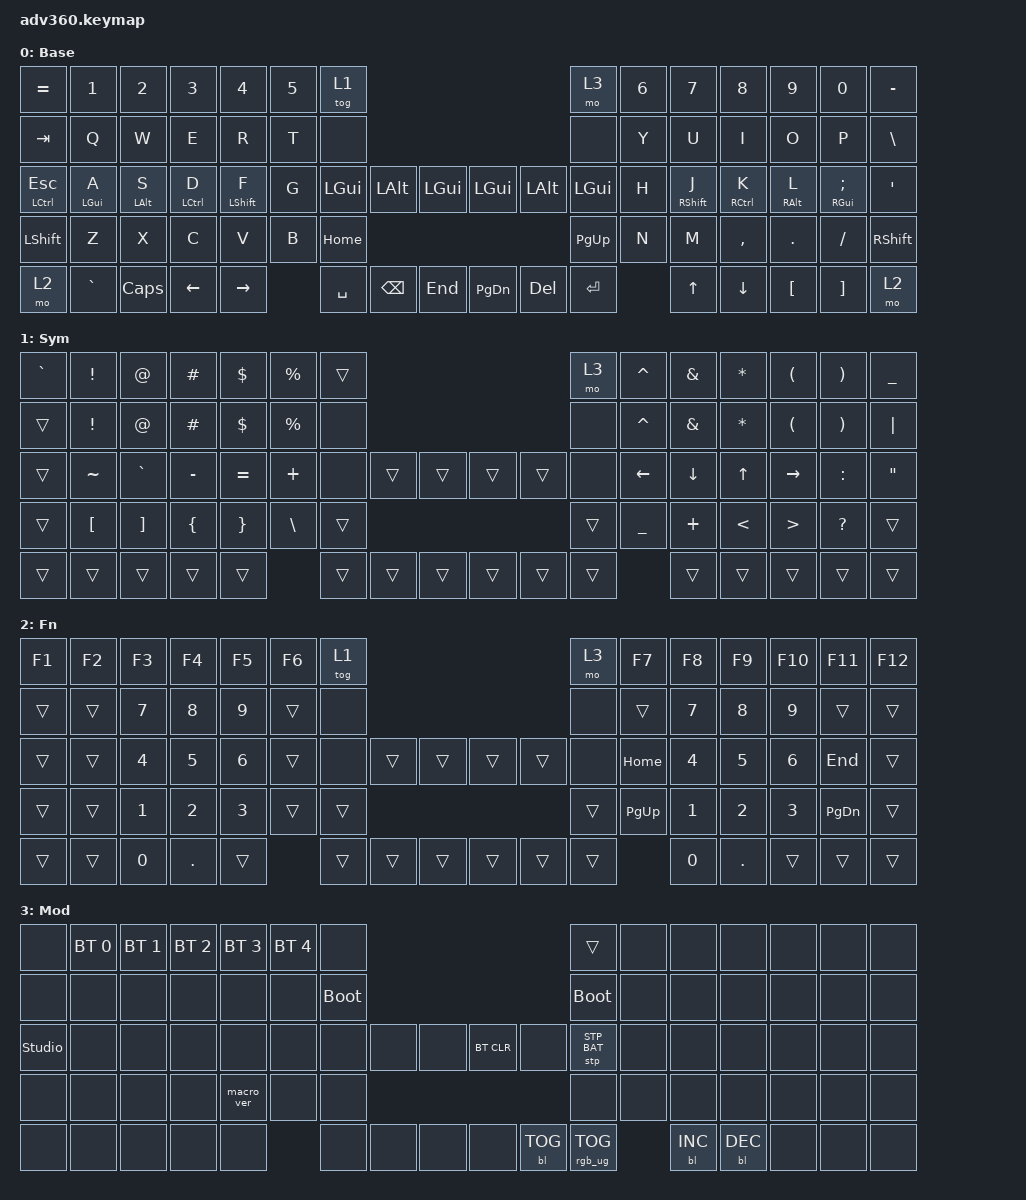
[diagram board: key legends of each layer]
#include <dt-bindings/zmk/stp.h>
#include <behaviors.dtsi>
#include <dt-bindings/zmk/backlight.h>
#include <dt-bindings/zmk/bt.h>
#include <dt-bindings/zmk/keys.h>
#include <dt-bindings/zmk/rgb.h>

// Key position groups for home row mods
// Left hand keys
#define KEYS_L 0 1 2 3 4 5 12 13 14 15 16 17 24 25 26 27 28 29 36 37 38 39 40 48 49 50 51 52
// Right hand keys
#define KEYS_R 6 7 8 9 10 11 18 19 20 21 22 23 30 31 32 33 34 35 41 42 43 44 45 46 47 53 54 55 56 57
// Thumb keys
#define THUMBS 58 59 60 61 62 63 64 65 66 67 68 69

/ {
    behaviors {
        #include "macros.dtsi"
        #include "version.dtsi"

        // Urob-style timeless home row mods - left hand
        hml: homerow_mods_left {
            compatible = "zmk,behavior-hold-tap";
            label = "HOMEROW_MODS_LEFT";
            #binding-cells = <2>;
            flavor = "balanced";
            tapping-term-ms = <280>;
            quick-tap-ms = <175>;
            require-prior-idle-ms = <150>;
            hold-trigger-key-positions = <KEYS_R THUMBS>;
            hold-trigger-on-release;
            bindings = <&kp>, <&kp>;
        };

        // Urob-style timeless home row mods - right hand
        hmr: homerow_mods_right {
            compatible = "zmk,behavior-hold-tap";
            label = "HOMEROW_MODS_RIGHT";
            #binding-cells = <2>;
            flavor = "balanced";
            tapping-term-ms = <280>;
            quick-tap-ms = <175>;
            require-prior-idle-ms = <150>;
            hold-trigger-key-positions = <KEYS_L THUMBS>;
            hold-trigger-on-release;
            bindings = <&kp>, <&kp>;
        };

        // Caps position: tap = Escape, hold = Control
        caps_ctrl: caps_ctrl_esc {
            compatible = "zmk,behavior-hold-tap";
            label = "CAPS_CTRL_ESC";
            #binding-cells = <2>;
            flavor = "balanced";
            tapping-term-ms = <200>;
            bindings = <&kp>, <&kp>;
        };
    };

    combos {
        compatible = "zmk,combos";

        // JK combo -> Escape (popular vim escape)
        combo_esc {
            timeout-ms = <50>;
            key-positions = <31 32>; // J and K positions
            bindings = <&kp ESC>;
            layers = <0>;
        };

        // DF combo -> Tab (for completion)
        combo_tab {
            timeout-ms = <50>;
            key-positions = <27 28>; // D and F positions
            bindings = <&kp TAB>;
            layers = <0>;
        };
    };

    keymap {
        compatible = "zmk,keymap";

        default_layer {
            display-name = "Base";
            // Home row mods: A(GUI) S(Alt) D(Ctrl) F(Shift) | J(Shift) K(Ctrl) L(Alt) ;(GUI)
            bindings = <
&kp EQUAL                      &kp N1          &kp N2        &kp N3        &kp N4         &kp N5  &tog 1                                                                      &mo 3         &kp N6  &kp N7         &kp N8        &kp N9        &kp N0           &kp MINUS
&kp TAB                        &kp Q           &kp W         &kp E         &kp R          &kp T   &none                                                                       &none         &kp Y   &kp U          &kp I         &kp O         &kp P            &kp BSLH
&caps_ctrl LCTRL ESC           &hml LGUI A     &hml LALT S   &hml LCTRL D  &hml LSHFT F   &kp G   &kp LEFT_GUI  &kp LEFT_ALT  &kp LEFT_GUI      &kp LGUI   &kp LEFT_ALT      &kp LEFT_GUI  &kp H   &hmr RSHFT J   &hmr RCTRL K  &hmr RALT L   &hmr RGUI SEMI   &kp SQT
&kp LSHFT                      &kp Z           &kp X         &kp C         &kp V          &kp B                               &kp HOME          &kp PG_UP                                   &kp N   &kp M          &kp COMMA     &kp DOT       &kp FSLH         &kp RSHFT
&mo 2                          &kp GRAVE       &kp CAPS      &kp LEFT      &kp RIGHT              &kp SPACE     &kp BSPC      &kp END           &kp PG_DN  &kp DEL           &kp ENTER             &kp UP         &kp DOWN      &kp LBKT      &kp RBKT         &mo 2
            >;
        };

        symbols_layer {
            display-name = "Sym";
            // Symbol layer with HJKL arrows for non-vim apps
            bindings = <
&kp GRAVE  &kp EXCL   &kp AT     &kp HASH   &kp DLLR   &kp PRCNT  &trans                                                   &mo 3      &kp CARET  &kp AMPS   &kp ASTRK  &kp LPAR   &kp RPAR   &kp UNDER
&trans     &kp EXCL   &kp AT     &kp HASH   &kp DLLR   &kp PRCNT  &none                                                    &none      &kp CARET  &kp AMPS   &kp ASTRK  &kp LPAR   &kp RPAR   &kp PIPE
&trans     &kp TILDE  &kp GRAVE  &kp MINUS  &kp EQUAL  &kp PLUS   &none     &trans  &trans      &trans     &trans          &none      &kp LEFT   &kp DOWN   &kp UP     &kp RIGHT  &kp COLON  &kp DQT
&trans     &kp LBKT   &kp RBKT   &kp LBRC   &kp RBRC   &kp BSLH                     &trans      &trans                                &kp UNDER  &kp PLUS   &kp LT     &kp GT     &kp QMARK  &trans
&trans     &trans     &trans     &trans     &trans                &trans    &trans  &trans      &trans     &trans          &trans                &trans     &trans     &trans     &trans     &trans
            >;
        };

        fn_layer {
            display-name = "Fn";
            // Function keys and numpad
            bindings = <
&kp F1   &kp F2   &kp F3   &kp F4   &kp F5   &kp F6   &tog 1                                      &mo 3   &kp F7       &kp F8       &kp F9       &kp F10      &kp F11  &kp F12
&trans   &trans   &kp N7   &kp N8   &kp N9   &trans   &none                                       &none   &trans       &kp N7       &kp N8       &kp N9       &trans   &trans
&trans   &trans   &kp N4   &kp N5   &kp N6   &trans   &none   &trans  &trans      &trans  &trans  &none   &kp HOME     &kp N4       &kp N5       &kp N6       &kp END  &trans
&trans   &trans   &kp N1   &kp N2   &kp N3   &trans                   &trans      &trans                  &kp PG_UP    &kp N1       &kp N2       &kp N3       &kp PG_DN &trans
&trans   &trans   &kp N0   &kp DOT  &trans           &trans  &trans  &trans      &trans  &trans  &trans               &kp N0       &kp DOT      &trans       &trans   &trans
            >;
        };

        mod_layer {
            display-name = "Mod";
            bindings = <
&none           &bt BT_SEL 0  &bt BT_SEL 1  &bt BT_SEL 2  &bt BT_SEL 3  &bt BT_SEL 4  &none                                                  &trans           &none  &none       &none       &none  &none  &none
&none           &none         &none         &none         &none         &none         &bootloader                                            &bootloader      &none  &none       &none       &none  &none  &none
&studio_unlock  &none         &none         &none         &none         &none         &none        &none  &none      &bt BT_CLR  &none       &stp STP_BAT     &none  &none       &none       &none  &none  &none
&none           &none         &none         &none         &macro_ver    &none                             &none      &none                                    &none  &none       &none       &none  &none  &none
&none           &none         &none         &none         &none                       &none        &none  &none      &none       &bl BL_TOG  &rgb_ug RGB_TOG         &bl BL_INC  &bl BL_DEC  &none  &none  &none
            >;
        };

        extra1 {
            display-name = "Red";
            status = "reserved";
        };

        extra2 {
            display-name = "Purple";
            status = "reserved";
        };

        extra3 {
            display-name = "Cyan";
            status = "reserved";
        };

        extra4 {
            display-name = "Yellow";
            status = "reserved";
        };
    };
};
